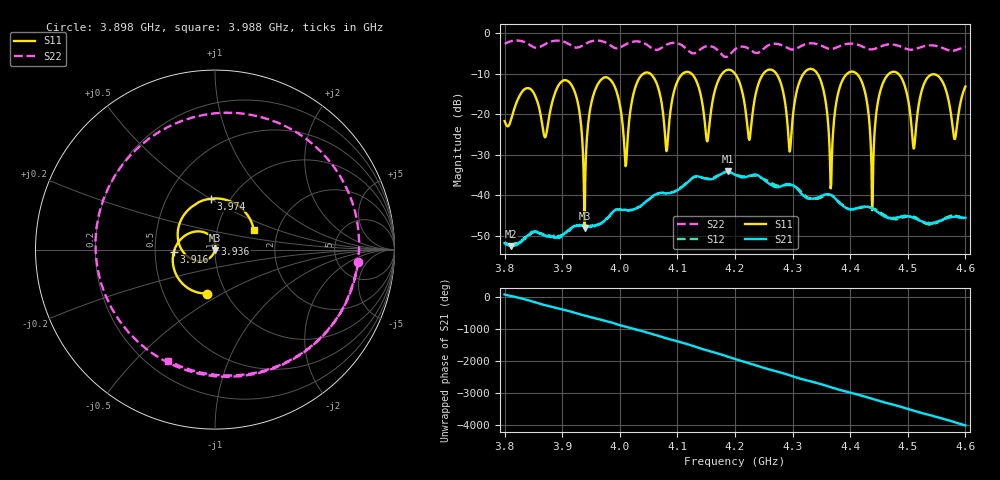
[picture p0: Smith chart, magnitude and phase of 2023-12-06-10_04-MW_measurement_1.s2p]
!Created with skrf (http://scikit-rf.org).
# Hz S RI R 50.0
!freq ReS11 ImS11 ReS21 ImS21 ReS12 ImS12 ReS22 ImS22
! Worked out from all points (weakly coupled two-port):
!   801 points, 3.8 GHz to 4.6 GHz, reference 50 ohm
!   highest |S21| = -34.09 dB at 4.187 GHz (marker M1); lowest = -52.6 dB at 3.811 GHz (marker M2)
!   lowest |S11| = -48.1 dB at 3.939 GHz (marker M3), VSWR 1.01, Z = 49.9 - j0.387 ohm
!   |S11| at or under -10 dB: start of sweep to 4.041 GHz; 4.053 GHz to 4.109 GHz (56.65 MHz wide, 1.39 % of centre); 4.483 GHz to end of sweep (the widest 3 of 8)
!   |S22| runs from -5.9 to -1.8 dB; largest |S21 - S12| = 0.0023
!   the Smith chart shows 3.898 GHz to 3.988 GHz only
!   S11 on the Smith chart (normalised r, x): 3.898 GHz: 0.82, -0.43; 3.916 GHz: 0.63, -0.02; 3.936 GHz: 1.00, +0.07; 3.974 GHz: 0.82, +0.51; 3.988 GHz: 1.50, +0.35
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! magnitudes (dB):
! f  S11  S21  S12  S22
! 3.8 GHz  -21.7  -51.8  -51.9  -2.7
! 3.811 GHz  -21.5  -52.6  -52.2  -2.0
! 3.898 GHz  -12.1  -50.3  -50.0  -1.9
! 3.916 GHz  -12.8  -48.2  -48.1  -3.1
! 3.934 GHz  -24.7  -47.4  -47.4  -3.2
! 3.936 GHz  -29.5  -47.5  -47.5  -3.0
! 3.939 GHz  -48.1  -47.7  -47.6  -2.8
! 3.974 GHz  -10.9  -46.2  -46.3  -2.3
! 3.988 GHz  -12.3  -44.1  -44.1  -3.5
! 4.01 GHz  -32.8  -43.6  -43.6  -2.8
! 4.067 GHz  -13.7  -39.5  -39.6  -4.1
! 4.152 GHz  -26.7  -36.0  -35.9  -3.2
! 4.187 GHz  -9.1  -34.1  -34.3  -5.8
! 4.2 GHz  -10.0  -34.9  -34.9  -4.0
! 4.295 GHz  -29.2  -37.3  -37.5  -3.9
! 4.334 GHz  -8.9  -40.9  -40.9  -2.5
! 4.366 GHz  -38.3  -39.9  -39.9  -3.9
! 4.415 GHz  -10.6  -43.1  -43.2  -3.0
! 4.438 GHz  -43.7  -43.2  -43.1  -4.0
! 4.467 GHz  -10.1  -45.6  -45.5  -2.8
! 4.51 GHz  -28.5  -45.5  -45.3  -4.1
! 4.6 GHz  -13.2  -45.6  -45.7  -3.3
